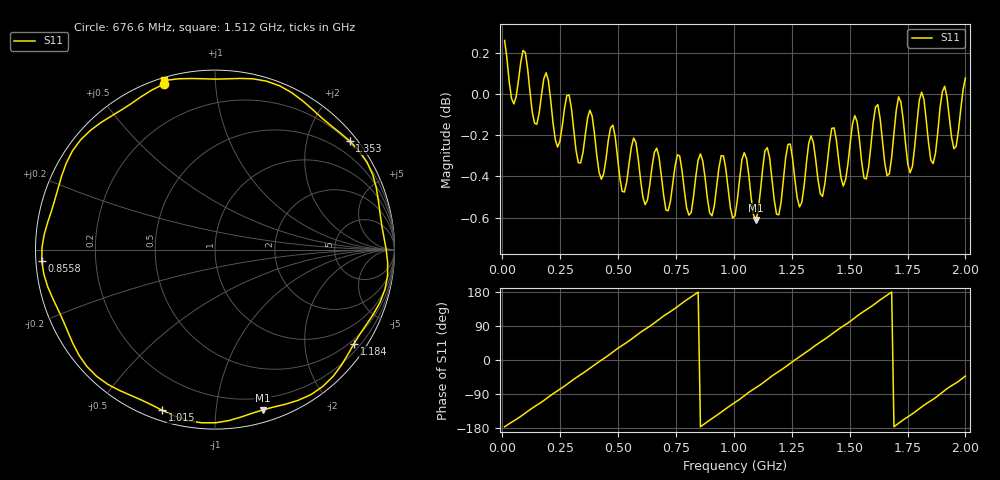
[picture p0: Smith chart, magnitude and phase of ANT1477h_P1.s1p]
!Created with skrf (http://scikit-rf.org).
# Hz S RI R 50.0
!freq ReS11 ImS11
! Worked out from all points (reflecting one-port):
!   201 points, 10 MHz to 2 GHz, reference 50 ohm
!   lowest |S11| = -0.6 dB at 1.095 GHz (marker M1), VSWR 28.45, Z = 4.92 - j66.9 ohm
!   phase of S11 starts at -176 deg and turns +854 deg over the sweep
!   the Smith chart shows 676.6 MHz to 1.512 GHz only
!   S11 on the Smith chart (normalised r, x): 676.6 MHz: 0.03, +0.74; 855.8 MHz: 0.02, -0.03; 1.015 GHz: 0.05, -0.72; 1.184 GHz: 0.38, -3.22; 1.353 GHz: 0.16, +2.83; 1.512 GHz: 0.01, +0.74
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1e7  -1.028 -0.0664
7.965e7  -0.8712 -0.5266
1.294e8  -0.5943 -0.7917
1.891e8  -0.2189 -0.9881
2.5875e8  0.2857 -0.9396
3.881e8  0.944 -0.2909
4.677e8  0.9407 0.2796
5.075e8  0.7876 0.539
5.871e8  0.3491 0.899
6.7665e8  -0.2842 0.9228
7.5625e8  -0.7486 0.6116
8.5575e8  -0.9651 -0.0627
9.3535e8  -0.7566 -0.5901
1.005e9  -0.3554 -0.864
1.01495e9  -0.2942 -0.8952
1.09455e9  0.2672 -0.893
1.1841e9  0.7741 -0.5246
1.25375e9  0.962 -0.0706
1.35325e9  0.7509 0.6049
1.43285e9  0.2859 0.9387
1.5025e9  -0.2024 0.9517
1.51245e9  -0.2815 0.9423
1.63185e9  -0.9181 0.3606
1.7015e9  -0.9804 -0.1454
1.75125e9  -0.8333 -0.48
1.8209e9  -0.4881 -0.8695
1.89055e9  -0.0025 -0.9923
2e9  0.7462 -0.6793
